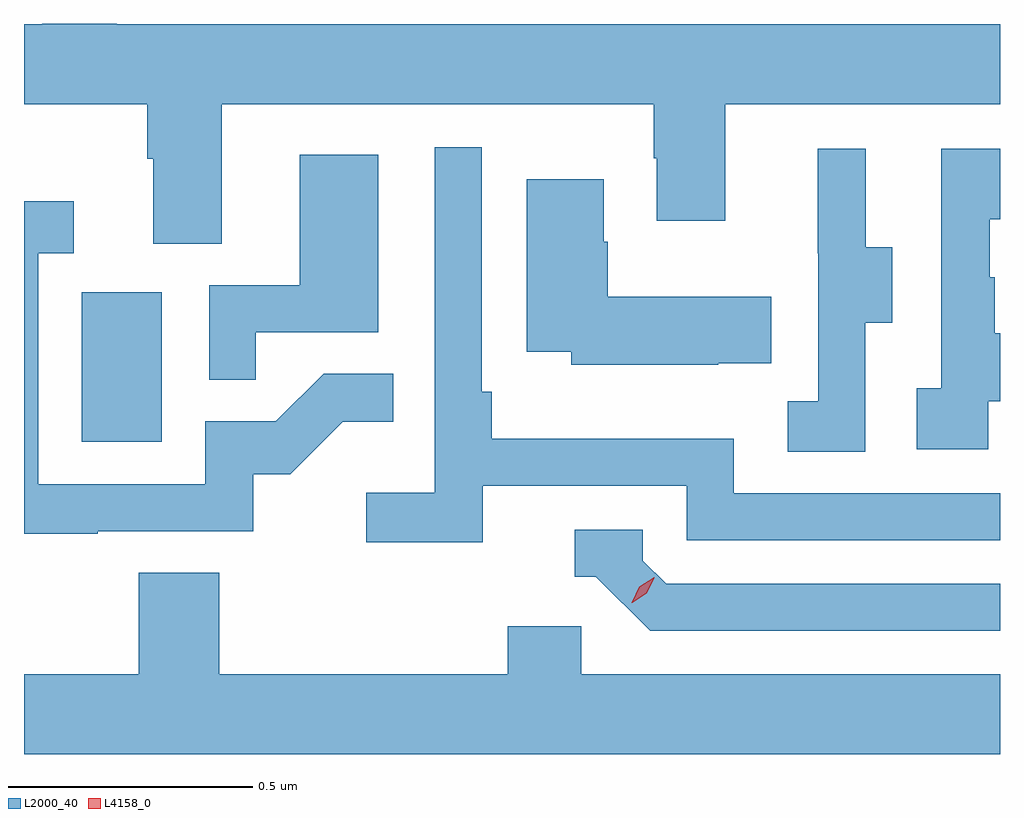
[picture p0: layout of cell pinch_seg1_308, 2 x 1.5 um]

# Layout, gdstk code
import gdstk
lib = gdstk.Library(unit=1e-6, precision=1e-09)
def R(c, l, rs):  # rectangles x0, y0, x1, y1
    for r in rs: c.add(gdstk.rectangle(r[:2], r[2:], *l))
def P(c, l, *ps):  # polygons
    for p in ps: c.add(gdstk.Polygon(p, *l))
L2000_40 = (2000, 40)
L4158_0 = (4158, 0)

pinch_seg1_308 = lib.new_cell('pinch_seg1_308')
R(pinch_seg1_308, L2000_40, [(926.114,560.364,926.278,560.671)])
P(pinch_seg1_308, L2000_40, [(926.401,561.056),(927.286,561.056),(927.286,560.945),(927.293,560.945),(927.293,560.817),(927.433,560.817),(927.433,561.056),(927.996,561.056),(927.996,561.22),(926.186,561.22),(926.186,561.221),(926.033,561.221),(926.033,561.22),(925.996,561.22),(925.996,561.056),(926.249,561.056),(926.249,560.944),(926.261,560.944),(926.261,560.77),(926.401,560.77)],
  [(926.936,560.274),(927.354,560.274),(927.354,560.163),(927.996,560.163),(927.996,560.259),(927.45,560.259),(927.45,560.371),(926.954,560.371),(926.954,560.467),(926.934,560.467),(926.934,560.968),(926.838,560.968),(926.838,560.26),(926.697,560.26),(926.697,560.158),(926.936,560.158)],
  [(927.72,560.608),(927.775,560.608),(927.775,560.763),(927.721,560.763),(927.721,560.965),(927.623,560.965),(927.623,560.751),(927.624,560.751),(927.624,560.447),(927.561,560.447),(927.561,560.344),(927.72,560.344)],
  [(927.972,560.447),(927.996,560.447),(927.996,560.587),(927.985,560.587),(927.985,560.702),(927.975,560.702),(927.975,560.82),(927.996,560.82),(927.996,560.965),(927.876,560.965),(927.876,560.474),(927.825,560.474),(927.825,560.349),(927.972,560.349)],
  [(926.471,560.589),(926.722,560.589),(926.722,560.953),(926.561,560.953),(926.561,560.685),(926.376,560.685),(926.376,560.491),(926.471,560.491)],
  [(927.419,560.525),(927.527,560.525),(927.527,560.662),(927.192,560.662),(927.192,560.774),(927.184,560.774),(927.184,560.902),(927.026,560.902),(927.026,560.549),(927.117,560.549),(927.117,560.522),(927.419,560.522)],
  [(926.147,560.181),(926.466,560.181),(926.466,560.298),(926.542,560.298),(926.649,560.405),(926.753,560.405),(926.753,560.504),(926.61,560.504),(926.512,560.406),(926.367,560.406),(926.367,560.277),(926.025,560.277),(926.025,560.751),(926.098,560.751),(926.098,560.857),(925.996,560.857),(925.996,560.176),(926.147,560.176)],
  [(927.996,560.073),(927.312,560.073),(927.264,560.121),(927.264,560.184),(927.125,560.184),(927.125,560.088),(927.168,560.088),(927.279,559.977),(927.996,559.977)],
  [(927.996,559.888),(927.138,559.888),(927.138,559.986),(926.987,559.986),(926.987,559.888),(926.396,559.888),(926.396,560.096),(926.231,560.096),(926.231,559.888),(925.996,559.888),(925.996,559.724),(927.996,559.724)])
P(pinch_seg1_308, L4158_0, [(927.241,560.034),(927.241,560.035),(927.257,560.067),(927.288,560.087),(927.288,560.087),(927.288,560.086),(927.272,560.054),(927.242,560.034)])

lib.write_gds('pinch_seg1_308.gds')
